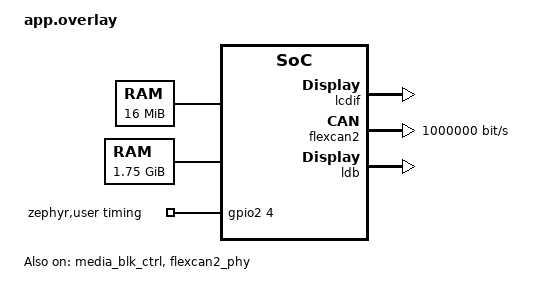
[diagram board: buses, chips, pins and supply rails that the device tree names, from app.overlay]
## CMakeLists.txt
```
# Copyright 2024, NXP
# SPDX-License-Identifier: Apache-2.0

cmake_minimum_required(VERSION 3.20.0)

find_package(Zephyr REQUIRED HINTS $ENV{ZEPHYR_BASE})
project(ebike_digital_cluster)

target_include_directories(app PRIVATE
    src
    src/generated
    src/custom
    src/generated/guider_customer_fonts
    src/generated/guider_fonts
    src/generated/images
)

FILE(GLOB gui_guider_src
    src/generated/*.c
    src/custom/*.c
    src/generated/guider_customer_fonts/*.c
    src/generated/guider_fonts/*.c
    src/generated/images/*.c
)

target_sources_ifdef(CONFIG_EDC_SHELL app PRIVATE
  src/view_shell.c
)

target_sources(app PRIVATE
  src/main.c
  src/model.c
  src/control.c
  ${gui_guider_src}
)

target_compile_definitions(app PRIVATE LV_LVGL_H_INCLUDE_SIMPLE)
```

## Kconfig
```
# Copyright 2024, NXP
# SPDX-License-Identifier: Apache-2.0

menu "Ebike digital cluster demo"

config EDC_CAN_FRAME_ID_BASE
	hex "CAN ID"
	default 0x100
	range 0x000 0x7fd
	help
	  CAN frame id base. 3 CAN frame ids are used in this demo.

config EDC_CAN_FD_MODE
	bool "Send CAN-FD format frames"
	select CAN_FD_MODE
    default n
	help
	  Selects CAN_FD_MODE

config EDC_SHELL
	bool "Enable edc shell debug command"
    default y if SHELL
	depends on SHELL
	help
	  Maximum number of CAN frames to enqueue for transmission.

config EDC_TIMING_GPIO
    bool "Filp GPIO to measure time"
    default n

module = EDC_MAIN
module-str = ebike digital cluster main thread
source "subsys/logging/Kconfig.template.log_config"

module = EDC_CONTROL
module-str = ebike digital cluster control
source "subsys/logging/Kconfig.template.log_config"

module = EDC_MODEL
module-str = ebike digital cluster model
source "subsys/logging/Kconfig.template.log_config"

endmenu

source "Kconfig.zephyr"
```

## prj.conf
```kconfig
# Copyright 2024, NXP
# SPDX-License-Identifier: Apache-2.0

## DEVICE ##
CONFIG_PINCTRL=y
CONFIG_PINCTRL_DYNAMIC=y
CONFIG_CLOCK_CONTROL=y
CONFIG_GPIO=y
CONFIG_SERIAL=y
CONFIG_UART_INTERRUPT_DRIVEN=y
CONFIG_I2C=y
CONFIG_I2C_CALLBACK=y
CONFIG_CAN=y
CONFIG_CAN_FD_MODE=n
CONFIG_CAN_RX_TIMESTAMP=y
CONFIG_DISPLAY=y
CONFIG_MCUX_IMX93_LDB=y
CONFIG_MCUX_LVDS_PANEL=y
CONFIG_GPIO_INIT_PRIORITY=10
CONFIG_I2C_INIT_PRIORITY=15
CONFIG_GPIO_ADP5585_GPIO_INIT_PRIORITY=20
CONFIG_GPIO_HOGS_INIT_PRIORITY=25
CONFIG_CAN_TRANSCEIVER_INIT_PRIORITY=40
CONFIG_CAN_INIT_PRIORITY=45
CONFIG_DISPLAY_INIT_PRIORITY=85

## KERNEL ##
CONFIG_XIP=y
CONFIG_USE_DT_CODE_PARTITION=y

CONFIG_SPEED_OPTIMIZATIONS=y
CONFIG_SCHED_SCALABLE=y
CONFIG_WAITQ_SCALABLE=y

CONFIG_PICOLIBC=y
# CONFIG_PICOLIBC_USE_MODULE is not set
CONFIG_COMMON_LIBC_MALLOC_ARENA_SIZE=67108864

CONFIG_MAIN_STACK_SIZE=16384
CONFIG_SYSTEM_WORKQUEUE_STACK_SIZE=16384
CONFIG_HEAP_MEM_POOL_SIZE=16777216

CONFIG_EVENTS=y
CONFIG_NOTIFY=y
CONFIG_PRINTK_SYNC=y
CONFIG_CBPRINTF_LIBC_SUBSTS=y

## SHELL ##
CONFIG_CONSOLE=y
CONFIG_UART_CONSOLE=y
CONFIG_LOG=n
CONFIG_LOG_MAX_LEVEL=3
CONFIG_LOG_DEFAULT_LEVEL=2
CONFIG_LOG_SPEED=y
CONFIG_SHELL=n
CONFIG_SHELL_PROMPT_UART="zephyr:~$ "
CONFIG_SHELL_BACKEND_SERIAL_LOG_MESSAGE_QUEUE_TIMEOUT=1000
CONFIG_SHELL_BACKEND_SERIAL_LOG_MESSAGE_QUEUE_SIZE=4096
CONFIG_SHELL_STACK_SIZE=16384

## LVGL ##
CONFIG_LV_Z_MEM_POOL_HEAP_LIB_C=y
CONFIG_LVGL=y
CONFIG_LV_Z_SHELL=y
CONFIG_LV_COLOR_DEPTH_32=y
CONFIG_LV_Z_DOUBLE_VDB=y
CONFIG_LV_Z_VDB_SIZE=100
CONFIG_LV_Z_FULL_REFRESH=y

## EDC ##
CONFIG_EDC_CAN_FRAME_ID_BASE=0x100
CONFIG_EDC_SHELL=y
CONFIG_EDC_TIMING_GPIO=y
CONFIG_EDC_MAIN_LOG_LEVEL_WRN=y
CONFIG_EDC_CONTROL_LOG_LEVEL_WRN=y
CONFIG_EDC_MODEL_LOG_LEVEL_WRN=y
```

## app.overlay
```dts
/*
 * Copyright 2023, NXP
 *
 * SPDX-License-Identifier: Apache-2.0
 */

/delete-node/ &sram0;

/{
    chosen{
        zephyr,console = &lpuart1;
        zephyr,shell-uart = &lpuart1;
        zephyr,code-partition = &sram0;
        zephyr,sram = &sram1;
        zephyr,canbus = &flexcan2;
        zephyr,display = &lcdif;
    };

    cpus {
		cpu@0 {
			status = "okay";
		};
	};

    sram0: memory@80200000 {
        reg = <0x80200000 DT_SIZE_M(16)>;
    };

    sram1: memory@81200000 {
        reg = <0x81200000 DT_SIZE_M(1792)>;
    };

    zephyr,user {
        timing_gpios = <&gpio2 4 GPIO_ACTIVE_HIGH>;
    };

};

&media_blk_ctrl{
	status = "okay";
};

&lcdif {
	pixel-format = "argb-8888";
	status = "okay";
};

&gpiohog_exp_sel {
    output-low;
};

&flexcan2_phy {
    status = "okay";
};

&flexcan2 {
	bus-speed = <1000000>;
    status = "okay";
};

&ldb {
    status = "okay";
};

&lvds_panel {
    status = "okay";
};
```

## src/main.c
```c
/*
 * Copyright 2023, NXP
 *
 * SPDX-License-Identifier: Apache-2.0
 */

#include <zephyr/kernel.h>
#include <zephyr/device.h>
#include <zephyr/drivers/gpio.h>
#include <zephyr/drivers/can.h>
#include <zephyr/drivers/display.h>
#include <zephyr/drivers/i2c.h>
#include <zephyr/sys/util.h>
#include <zephyr/sys/printk.h>
#include <zephyr/logging/log.h>
#include <zephyr/shell/shell.h>
#include <inttypes.h>
#include <stdio.h>
#include <string.h>
#include <lvgl.h>

#include "../generated/gui_guider.h"
#include "../generated/events_init.h"

#include "control.h"
#include "custom.h"

LOG_MODULE_REGISTER(main, CONFIG_EDC_MAIN_LOG_LEVEL);

#ifdef CONFIG_EDC_TIMING_GPIO
static struct gpio_dt_spec timing_gpio =
		GPIO_DT_SPEC_GET(DT_PATH(zephyr_user), timing_gpios);
#endif // CONFIG_EDC_TIMING_GPIO

k_tid_t tid_main;
lv_ui guider_ui;

edc_ctrl_t edc_ctrl;
edc_dataModel_t edc_model;

K_THREAD_STACK_DEFINE(edc_ctrl_thread_stack, EDC_CTRL_THREAD_STACK_SIZE);
struct k_thread edc_ctrl_thread;

void board_enable_backlight(void)
{
	const uint8_t cmd_data[] = {0x0d, 0xbf};
	const uint8_t io_exp_addr = 0x22;
	const struct device *i2c_dev = DEVICE_DT_GET(DT_N_S_soc_S_i2c_44350000);

	if(!device_is_ready(i2c_dev))
	{
		LOG_ERR("I2C: Device not ready.");
	}

	i2c_write(i2c_dev, cmd_data, 2, io_exp_addr);

}

int main(void)
{
	int ret;
	struct k_timer timer;
	tid_main = k_current_get();

	printk("**** ebike digital cluster demo ****\n"
	);

#ifdef CONFIG_EDC_TIMING_GPIO
	if (timing_gpio.port && !device_is_ready(timing_gpio.port)) {
		ret = -ENODEV;
		LOG_ERR("Error %d: timing_gpio device %s is not ready\n",
		       ret, timing_gpio.port->name);
		return ret;
	}

	ret = gpio_pin_configure_dt(&timing_gpio, GPIO_OUTPUT_ACTIVE);
	if (ret != 0) {
		LOG_ERR("Error %d: failed to configure timing_gpio at device %s pin %d\n",
		       ret, timing_gpio.port->name, timing_gpio.pin);
		return ret;
	} else {
		LOG_INF("Set up timing_gpio at device %s pin %d\n", timing_gpio.port->name, timing_gpio.pin);
	}
#endif // CONFIG_EDC_TIMING_GPIO

	const struct device *display_dev;

	display_dev = DEVICE_DT_GET(DT_CHOSEN(zephyr_display));
	if (!device_is_ready(display_dev)) {
		LOG_ERR("Device not ready, aborting test");
		return -ENODEV;
	}

	/** fill: 0x27, 0x1d, 0x16, 0xff */
	extern uint32_t _bg1_alpha_1280x800_map_filled[];
	for(int i = 0; i < (1280 * 800); ++i)
	{
		_bg1_alpha_1280x800_map_filled[i] = 0xff161d27U;
	}

	setup_ui(&guider_ui);
   	events_init(&guider_ui);
	custom_init(&guider_ui);

	lv_task_handler();
	//display_blanking_off(display_dev);
	board_enable_backlight();

	LOG_INF("lvgl display output started");
#ifdef CONFIG_EDC_TIMING_GPIO
	ret = gpio_pin_toggle_dt(&timing_gpio);
	if(ret)	{
		LOG_ERR("toggle timing_gpio err [%d]", ret);
		return ret;
	}
#endif // CONFIG_EDC_TIMING_GPIO

	/**
	 * create edc_ctrl thread as cooperative thread, then
	 * yield() to let it run first. It will set itself to
	 * a lower priority preemptive thread once initialized.
	 */
	k_thread_create(&edc_ctrl_thread, edc_ctrl_thread_stack,
        EDC_CTRL_THREAD_STACK_SIZE,
        (k_thread_entry_t)EDC_CtrlTask, (void*)&edc_ctrl, (void*)&edc_model, NULL,
        EDC_CTRL_THREAD_START_PRIO, 0, K_NO_WAIT
    );
	k_yield();

	LOG_INF("main thread resume");
	k_timer_init(&timer, NULL, NULL);
	k_timer_start(&timer, K_USEC(20000), K_USEC(20000));

	while (true)
	{
		/** wait for timer to trigger display */
		k_timer_status_sync(&timer);
		lv_task_handler();
	}

	return 0;
}
```

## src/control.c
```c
/*
* Copyright 2023-2024 NXP
*
* SPDX-License-Identifier: Apache-2.0
*/

#include "control.h"
#include "custom.h"

#include <zephyr/logging/log.h>
LOG_MODULE_REGISTER(edc_control, CONFIG_EDC_CONTROL_LOG_LEVEL);

#ifdef CONFIG_CAN_FD_MODE
#define CTRL_CAN_FILTER_FLAGS (CAN_FILTER_FDF | CAN_FILTER_DATA)
#else
#define CTRL_CAN_FILTER_FLAGS (CAN_FILTER_DATA)
#endif // CONFIG_CAN_FD_MODE

struct can_filter const edc_ctrl_canRxFilter[] =
{
    {
        .flags = CTRL_CAN_FILTER_FLAGS,
        .id = edc_ctrl_canMsg_timeSync,
        .mask = CAN_STD_ID_MASK,
    },
    {
        .flags = CTRL_CAN_FILTER_FLAGS,
        .id = edc_ctrl_canMsg_driveMode,
        .mask = CAN_STD_ID_MASK,
    },
    {
        .flags = CTRL_CAN_FILTER_FLAGS,
        .id = edc_ctrl_canMsg_currSpeed,
        .mask = CAN_STD_ID_MASK,
    },
};

void EDC_CtrlPubWorkHandler(struct k_work * work)
{
    edc_ctrl_t *ctrl = CONTAINER_OF(work, edc_ctrl_t, pub_work);
    EDC_DataModelPublish(ctrl->model);
}

void EDC_CtrlCanBusRxCb(struct device const *const dev, struct can_frame *frame, void *userData)
{
    static edc_data_t update_data;

    edc_ctrl_t * const ctrl = (edc_ctrl_t*)userData;
    LOG_DBG("can rx frame: id=0x%3.3x, dlc=%d",
           frame->id, frame->dlc);

    switch (frame->id)
    {
    case edc_ctrl_canMsg_timeSync:
        LOG_DBG("update timeSync %d", frame->data_32[0]);
        if(frame->dlc != 8U)
        {
            LOG_ERR("timeSync: frame format error, expect dlc = 8");
            break;
        }
        if(k_sem_take(&ctrl->model->ts.is_free, K_NO_WAIT) == 0)
        {
            k_sem_give(&ctrl->model->ts.is_free);
            LOG_ERR("timeSync: last timeSync timeout");
            break;
        }
        EDC_DataModelTimeSyncCalculate(ctrl->model, &frame->data_32[0]);
        break;
    case edc_ctrl_canMsg_driveMode:
        LOG_DBG("update driveMode %d", frame->data_32[0]);
        if(frame->dlc != 4U)
        {
            LOG_ERR("driveMode: frame format error, expect dlc = 4");
            break;
        }
        update_data.modeFlag = frame->data_32[0];
        EDC_DataModelUpdate(ctrl->model, &update_data, edc_dataFlag_modeFlag);
        k_wakeup(ctrl->thread_id);
        break;
    case edc_ctrl_canMsg_currSpeed:
        LOG_DBG("update currSpeed %d", frame->data_32[0]);
        if(frame->dlc != 4U)
        {
            LOG_ERR("currSpeed: frame format error, expect dlc = 4");
            break;
        }
        if (k_timer_remaining_get(&ctrl->ts_timer) == 0U)
        {
            /** timeSync not started until first currSpeed arrives */
            LOG_DBG("got first frame, enable timeSync");
            k_timer_start(&ctrl->ts_timer, K_MSEC(125), K_MSEC(125));
        }
        update_data.currentSpeed = frame->data_32[0];
        EDC_DataModelUpdate(ctrl->model, &update_data, edc_dataFlag_currentSpeed);
        k_wakeup(ctrl->thread_id);
        break;
    default:
        break;
    }
}

void EDC_CtrlCanBusTxCb(struct device const *const dev, int32_t error, void *userData)
{
    //edc_ctrl_t * const ctrl = (edc_ctrl_t*)userData;
    if (error != 0)
    {
        LOG_DBG("can tx error [%d]", error);
    }
    else
    {
        LOG_DBG("can tx frame");
    }
}

int32_t EDC_CtrlCanBusSend(edc_ctrl_t * const ctrl, struct can_frame * const frame)
{
    return can_send(ctrl->can_dev, frame, K_FOREVER, EDC_CtrlCanBusTxCb, ctrl);
}

int32_t EDC_CtrlCanBusConfig(edc_ctrl_t * const ctrl)
{
    int32_t ret;
    ctrl->can_dev = DEVICE_DT_GET(DT_CHOSEN(zephyr_canbus));
    if(!device_is_ready(ctrl->can_dev))
    {
        LOG_ERR("can device not ready [%d]\n", -ENODEV);
        return -ENODEV;
    }

    struct can_timing timing;
    ret = can_stop(ctrl->can_dev);
    ret = can_calc_timing(ctrl->can_dev, &timing, 1000000, 875);
    ret = can_set_timing(ctrl->can_dev, &timing);
#ifdef CONFIG_CAN_FD_MODE
    ret = can_calc_timing_data(ctrl->can_dev, &timing, 2000000, 875);
    ret = can_set_timing_data(ctrl->can_dev, &timing);
#endif // CONFIG_CAN_FD_MODE
    if (ret != 0)
    {
        LOG_ERR("set can timing fail [%d]\n", ret);
    }

    uint32_t const filter_count = sizeof(edc_ctrl_canRxFilter) / sizeof(struct can_filter);
    for(uint32_t i = 0U; i < filter_count; ++i)
    {
        ret = can_add_rx_filter(ctrl->can_dev, EDC_CtrlCanBusRxCb, ctrl, &edc_ctrl_canRxFilter[i]);
        if(ctrl->can_filterId < 0)
        {
            LOG_ERR("add can filter fail [%d]\n", ret);
            return ret;
        }
        ctrl->can_filterId[i] = ret;
    }

    return 0;
}

void EDC_CtrlTsWork(struct k_work *item)
{
    int ret;
    edc_ctrl_t *ctrl =
        CONTAINER_OF(item, edc_ctrl_t, ts_work);
    LOG_DBG("timesync work");

    static struct can_frame frame = {
#ifdef CONFIG_CAN_FD_MODE
	    .flags = CAN_FRAME_FDF | CAN_FRAME_BRS,
#else
	    .flags = 0U,
#endif // CONFIG_CAN_FD_MODE
        .id = edc_ctrl_canMsg_timeSync,
    };
    ret = EDC_DataModelTimeSyncPrepare(ctrl->model, &frame.data_32[0], &frame.dlc);
    if(ret)
    {
        k_timer_stop(&ctrl->ts_timer);
        EDC_DATAMODEL_UPDATE_MEMBER(ctrl->model, timeSync.ping, -1);
        EDC_DataModelPublish(ctrl->model);
        k_sem_give(&ctrl->model->ts.is_free);
        return;
    }
    ret = EDC_CtrlCanBusSend(ctrl, &frame);
    if(ret)
    {
        LOG_ERR("ts work can send fail [%d]", ret);
        return;
    }
}

void EDC_CtrlTsTimerWork(struct k_timer *item)
{
    edc_ctrl_t *ctrl =
        CONTAINER_OF(item, edc_ctrl_t, ts_timer);
    k_work_submit_to_queue(&ctrl->work_q, &ctrl->ts_work);
}

K_THREAD_STACK_DEFINE(edc_viewDisplay_thread_stack, EDC_VIEWDISPLAY_THREAD_STACK_SIZE);
struct k_thread edc_viewDisplay_thread;
void EDC_ViewDisplayTask(edc_ctrl_t * const ctrl, void*, void*); // defined in custom/custom.c

K_THREAD_STACK_DEFINE(edc_ctrl_wq_stack, EDC_CTRL_WQ_STACK_SIZE);

void EDC_CtrlTask(edc_ctrl_t *const ctrl, edc_dataModel_t *const model, void*)
{
    assert(ctrl);
    int ret;

    LOG_INF("edc ctrl task");
    ctrl->thread_id = k_current_get();
    k_thread_name_set(ctrl->thread_id, "edc_ctrl");

    EDC_DataModelInit(model);
    ctrl->model = model;
    k_work_init(&ctrl->pub_work, EDC_CtrlPubWorkHandler);

    k_work_queue_init(&ctrl->work_q);
    k_work_queue_start(&ctrl->work_q, edc_ctrl_wq_stack,
                   EDC_CTRL_WQ_STACK_SIZE, EDC_CTRL_THREAD_PRIO + 1,
                   NULL);

    k_work_init(&ctrl->ts_work, EDC_CtrlTsWork);
    k_timer_init(&ctrl->ts_timer, EDC_CtrlTsTimerWork, NULL);
    /** timeSync not started until first currSpeed arrives */

    LOG_INF("edc ctrl init ok");

    ret = EDC_CtrlCanBusConfig(ctrl);
    if(ret != 0)
    {
        return ret;
    }
    LOG_INF("edc ctrl can config ok");

	/**
	 * create edc_viewDisplay thread as cooperative thread, then
	 * yield() to let it run first. It will set itself to
	 * a lower priority preemptive thread once initialized.
	 */
	k_thread_create(&edc_viewDisplay_thread, edc_viewDisplay_thread_stack,
        EDC_VIEWDISPLAY_THREAD_STACK_SIZE,
        (k_thread_entry_t)EDC_ViewDisplayTask, (void*)ctrl, NULL, NULL,
        EDC_VIEWDISPLAY_THREAD_START_PRIO, 0, K_NO_WAIT
    );
	k_yield();

    LOG_INF("edc view start ok");

    ret = can_start(ctrl->can_dev);
    if (ret != 0)
    {
        LOG_DBG("can start fail [%d]\n", ret);
        return;
    }

    /** return to normal priority */
    k_thread_priority_set(k_current_get(), EDC_CTRL_THREAD_PRIO);

    while (true)
    {
        EDC_DataModelPublish(ctrl->model);
        k_thread_suspend(ctrl->thread_id);
    }

}
```

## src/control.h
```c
/*
* Copyright 2023-2024 NXP
*
* SPDX-License-Identifier: Apache-2.0
*/

#ifndef __EDC_CONTROL_H_
#define __EDC_CONTROL_H__

#include <stdint.h>
#include <stdlib.h>
#include <assert.h>
#include <string.h>

#include <zephyr/kernel.h>
#include <zephyr/kernel_structs.h>
#include <zephyr/spinlock.h>
#include <zephyr/sys/slist.h>
#include <zephyr/device.h>
#include <zephyr/devicetree.h>
#include <zephyr/drivers/can.h>
#include <zephyr/drivers/gpio.h>

#include "model.h"

#define EDC_CTRL_THREAD_START_PRIO (-1)
#define EDC_CTRL_THREAD_PRIO (5)
#define EDC_CTRL_THREAD_STACK_SIZE (0x4000U)
#define EDC_CTRL_WQ_STACK_SIZE (0x800U)

typedef enum _edc_ctrl_canMsg
{
    edc_ctrl_canMsg_timeSync = CONFIG_EDC_CAN_FRAME_ID_BASE + 0,
    edc_ctrl_canMsg_driveMode = CONFIG_EDC_CAN_FRAME_ID_BASE + 1,
    edc_ctrl_canMsg_currSpeed = CONFIG_EDC_CAN_FRAME_ID_BASE + 2,
} edc_ctrl_canMsg_t;

typedef struct _edc_ctrl
{
    k_tid_t thread_id;
    struct device const *can_dev;
    uint32_t can_filterId[8];
    edc_dataModel_t *model;
    struct k_work_q work_q;
    struct k_work ts_work; /** used for time sync */
    struct k_timer ts_timer;

    struct k_work pub_work; //TODO:clean-up work object if not used anymore
} edc_ctrl_t;

int32_t EDC_CtrlCanBusConfig(edc_ctrl_t * const ctrl);

void EDC_CtrlTask(edc_ctrl_t *const ctrl, edc_dataModel_t *const model, void*);

#endif //! __EDC_CONTROL_H__
```

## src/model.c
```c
/*
* Copyright 2023-2024 NXP
*
* SPDX-License-Identifier: Apache-2.0
*/

#include "model.h"

#include <zephyr/logging/log.h>
LOG_MODULE_REGISTER(edc_model, CONFIG_EDC_MODEL_LOG_LEVEL);

int32_t EDC_DataModelInit(edc_dataModel_t * const model)
{
    memset(model, 0U, sizeof(edc_dataModel_t));
    k_event_init(&model->event);
    sys_slist_init(&model->eventSubList);
    model->eventSubMask = 0U;
    k_mutex_init(&model->lock);
    k_sem_init(&model->ts.is_free, 1, 1);
    return 0U;
}

void EDC_DataModelUpdate(edc_dataModel_t * const model, edc_data_t const * const data, uint32_t flag)
{
    assert(model);
    assert(data);
    //assert(flag);
    k_mutex_lock(&model->lock, K_FOREVER);

    if (flag & edc_dataFlag_modeFlag)
    {
        EDC_DATAMODEL_UPDATE_MEMBER_FROM_DATA(model, data, modeFlag);
        if (model->shadow.modeData.driveMode == edc_driveMode_off
            && data->modeData.driveMode != edc_driveMode_off)
        {
            model->data.currentSpeed = model->shadow.currentSpeed = 0;
            model->data.averageSpeed = model->shadow.averageSpeed = 0;
            model->data.distance = model->shadow.distance = 0U;
            model->data.elapsedTime = model->shadow.elapsedTime = 0U;
        }
    }
    if (flag & edc_dataFlag_currentSpeed)
    {
        EDC_DATAMODEL_UPDATE_MEMBER_FROM_DATA(model, data, currentSpeed);

        if(model->shadow.modeData.driveMode != edc_driveMode_off)
        {
            uint64_t delta_elapsedTime /** ms */ = 50; // 50ms
            uint64_t new_elapsedTime /** ms */ = model->data.elapsedTime + delta_elapsedTime;
            EDC_DATAMODEL_UPDATE_MEMBER(model, elapsedTime, new_elapsedTime);

            uint64_t delta_distance /** mm */ = ((double)delta_elapsedTime) * ((double)model->data.currentSpeed) / 3600.0;
            uint32_t new_distance /** mm */ = model->data.distance + delta_distance;
            EDC_DATAMODEL_UPDATE_MEMBER(model, distance, new_distance);

            int32_t new_averageSpeed;
            if (new_elapsedTime != 0)
            {
                new_averageSpeed = ((double)new_distance * 3600) / ((double)new_elapsedTime);
            }
            else
            {
                new_averageSpeed = 0;
            }
            EDC_DATAMODEL_UPDATE_MEMBER(model, averageSpeed, new_averageSpeed);
        }
    }

    k_mutex_unlock(&model->lock);
}

int32_t EDC_DataModelSubscribe(edc_dataModelSub_t * const sub,
                                       edc_dataModel_t * const model)
{
    assert(model);
    assert(sub);
    if (sub->dataModel != NULL)
        return -EPERM;
    k_mutex_lock(&model->lock, K_FOREVER);

    bool event_bit_found = false;
    for (uint32_t i = 0U; i < 32U; ++i)
    {
        if (0U == ((model->eventSubMask >> i) & 1U))
        {
            model->eventSubMask |= (1U << i);
            sub->event_bit = i;
            event_bit_found = true;
            break;
        }
    }
    if (event_bit_found == false)
    {
        k_mutex_unlock(&model->lock);
        LOG_ERR("thread %s sub fail", k_thread_name_get(k_current_get()));
        return -EAGAIN;
    }

    sub->dataModel = model;
    sys_slist_append(&model->eventSubList, &sub->node);
    k_mutex_unlock(&model->lock);

    LOG_DBG("thread %s sub with event_bit %d", k_thread_name_get(k_current_get()), sub->event_bit);
    return 0U;
}

int32_t EDC_DataModelUnsubscribe(edc_dataModelSub_t * const sub)
{
    assert(sub);

    if (sub->dataModel == NULL)
        return -EINVAL;
    edc_dataModel_t * model = sub->dataModel;

    k_mutex_lock(&model->lock, K_FOREVER);
    //FIXME: what if a thread is waiting on this event?
    //optionally use high 16 bits for termination indicator
    bool remove = sys_slist_find_and_remove(&model->eventSubList, &sub->node);
    if(remove == false)
    {
        k_mutex_unlock(&model->lock);
        LOG_ERR("thread %s unsub failed", k_thread_name_get(k_current_get()));
        return -ENODATA;
    }

    model->eventSubMask &= ~(1U << sub->event_bit);
    sub->dataModel = NULL;
    k_mutex_unlock(&model->lock);
    LOG_DBG("thread %s unsub event_bit %d", k_thread_name_get(k_current_get()), sub->event_bit);
    return 0U;
}

int32_t EDC_DataModelEventWait(edc_dataModelSub_t * const sub, k_timeout_t timeout)
{
    LOG_DBG("thread %s wait event 0x%8.8x"
            , k_thread_name_get(k_current_get())
            , (uint32_t)(&sub->dataModel->event));
    int32_t ret = k_event_wait(&sub->dataModel->event, (1U << sub->event_bit), true, timeout);
    if(ret)
    {
        LOG_DBG("thread %s get event 0x%8.8x"
                , k_thread_name_get(k_current_get())
                , (uint32_t)(&sub->dataModel->event));
    }
    else
    {
        LOG_ERR("thread %s wait event 0x%8.8x timeout"
                , k_thread_name_get(k_current_get())
                , (uint32_t)(&sub->dataModel->event));
    }
    return ret;
}

void EDC_DataModelPublish(edc_dataModel_t * const model)
{
#if (KERNEL_VERSION_NUMBER >= 0x030400)
    // k_event_test is only available after zephyr 3.4.0.
    // FIXME these code are not tested!
    uint32_t pending_task = k_event_test(&model->event, model->eventSubMask);
    if(0U != pending_task)
    {
        LOG_DBG("W dm event is not fully cleared, 0x%x\n", pending_task);
    }
#endif // ! KERNEL_VERSION_NUMBER

    LOG_DBG("event 0x%8.8x publish 0x%8.8x from thread %s",
           (uint32_t)(&model->event), model->eventSubMask,
           k_thread_name_get(k_current_get()));

    //k_mutex_lock(&model->lock, K_FOREVER);
    k_event_post(&model->event, model->eventSubMask);
    //k_mutex_unlock(&model->lock);
}

int EDC_DataModelTimeSyncPrepare(edc_dataModel_t * const model, uint32_t* can_frame_data, uint8_t *dlc)
{
    int ret = k_sem_take(&model->ts.is_free, K_NO_WAIT);
    if(ret)
    {
        LOG_ERR("another time sync task already in progress! [%d]", ret);
        return ret;
    }
    model->ts.t0 = k_cyc_to_us_near32(k_cycle_get_64());
    can_frame_data[0] = model->ts.t0;
    *dlc = 4U;
    return 0;
}

void EDC_DataModelTimeSyncCalculate(edc_dataModel_t * const model, uint32_t* can_frame_data)
{
    model->ts.t3 = k_cyc_to_us_near32(k_cycle_get_64());
    model->ts.t1 = can_frame_data[0];
    model->ts.t2 = can_frame_data[1];

    int64_t t0 = model->ts.t0;
    int64_t t1 = model->ts.t1;
    int64_t t2 = model->ts.t2;
    int64_t t3 = model->ts.t3;

    uint32_t new_ping = (t3 - t0) - (t2 - t1); /** in us */
    EDC_DATAMODEL_UPDATE_MEMBER(model, timeSync.ping, new_ping);

    int32_t new_offset = ((t1 - t0) + (t2 - t3)) / 2; /** in us */
    EDC_DATAMODEL_UPDATE_MEMBER(model, timeSync.offset, new_offset);

    LOG_DBG("timeSync ping = %d us, offset = %d us", new_ping, new_offset);

    k_sem_give(&model->ts.is_free);
}
```

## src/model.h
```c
/*
* Copyright 2023-2024 NXP
*
* SPDX-License-Identifier: Apache-2.0
*/

#ifndef __EDC_MODEL_H__
#define __EDC_MODEL_H__
#include <stdint.h>
#include <stdlib.h>
#include <assert.h>
#include <string.h>

#include <zephyr/kernel.h>
#include <zephyr/kernel_structs.h>
#include <zephyr/spinlock.h>
#include <zephyr/sys/slist.h>

typedef enum _edc_driveMode
{
    edc_driveMode_off = 0U,
    edc_driveMode_lock, // child lock / protection
    //edc_driveMode_eco,
    edc_driveMode_normal,
    //edc_driveMode_rain,
    edc_driveMode_sport,
} edc_driveMode_t;

typedef enum _edc_lightMode
{
    /** main light */
    edc_lightMode_main_off =    0b00U,
    edc_lightMode_main_day =    0b01U,
    edc_lightMode_main_on =     0b10U,
    edc_lightMode_main_max =    0b11U,
    /** turn light */
    edc_lightMode_turn_na =     0b00U,
    edc_lightMode_turn_lt =     0b10U,
    edc_lightMode_turn_rt =     0b01U,
    /** rear light */
    edc_lightMode_rear_off =    0b00U,
    edc_lightMode_rear_dimm =   0b01U,
    edc_lightMode_rear_bright = 0b10U,
} edc_lightMode_t;

typedef enum _edc_dataFlag
{
    edc_dataFlag_modeFlag = (1U <<  1),
    edc_dataFlag_currentSpeed = (1U << 2),
} edc_dataFlag_t;

//__attribute__((__packed))
struct _edc_data
{
    union
    {
        uint32_t modeFlag;
        struct
        {
            edc_driveMode_t driveMode : 3;
            edc_lightMode_t mainLight : 2;
            edc_lightMode_t turnLight : 2;
            edc_lightMode_t rearLight : 2;
        } modeData;
    };

    int32_t currentSpeed, averageSpeed /** speed in m/h */;
    uint64_t distance /** distance in mm */, elapsedTime /** time in ms */;

    struct
    {
        int32_t ping;
        int32_t offset;
    } timeSync;
};

typedef struct _edc_data edc_data_t;
typedef struct _edc_ts
{
    struct k_sem is_free;
    uint32_t t0, t1, t2, t3;
}edc_timeSync_t;

typedef struct _edc_dataModel
{
    /** service section */
    struct k_event event;
    sys_slist_t eventSubList;
    uint32_t eventSubMask;

    struct k_mutex lock;

    /** storage section */
    edc_timeSync_t ts;
    edc_data_t data, shadow;

} edc_dataModel_t;


/** edc_dataModel_t helper macro */
#define EDC_DATAMODEL_UPDATE_MEMBER(model, member, member_data) \
    { \
        model->shadow.member = model->data.member; \
        model->data.member = member_data; \
    }

#define EDC_DATAMODEL_UPDATE_MEMBER_FROM_DATA(model, new_data, member) \
    { \
        model->shadow.member = model->data.member; \
        model->data.member = new_data->member; \
    }

#define EDC_DATAMODEL_IS_MEMBER_EQUAL(model, member) \
    (model->shadow.member == model->data.member)


typedef struct _edc_dataModelSub
{
    sys_snode_t node;           /**! slist node */
    uint32_t event_bit;         /**! dataModel event bit shift */
    edc_dataModel_t* dataModel; /**! dataModel subscribed to */
} edc_dataModelSub_t;

/**
 * @brief Init dataModel for Ebike digital cluster
 *
 * @param model     Pointer to the dataModel structure to be initialized.
 * @retval 0 If successful
 */
int32_t EDC_DataModelInit(edc_dataModel_t * const model);

/**
 * @brief Update data fields inside dataModel according to flags.
 *
 * @param model     Pointer to the dataModel structure to be updated
 * @param data      Pointer to structure containing new data.
 * @param flag      Bitfield indicating which data to be update.
 */
void EDC_DataModelUpdate(edc_dataModel_t * const model, edc_data_t const * const data, uint32_t flag);

int32_t EDC_DataModelSubscribe(edc_dataModelSub_t * const sub,
                                edc_dataModel_t * const model);

int32_t EDC_DataModelUnsubscribe(edc_dataModelSub_t * const sub);

int32_t EDC_DataModelEventWait(edc_dataModelSub_t * const sub, k_timeout_t timeout);

void EDC_DataModelPublish(edc_dataModel_t * const model);

int EDC_DataModelTimeSyncPrepare(edc_dataModel_t * const model, uint32_t* can_frame_data, uint8_t *dlc);

void EDC_DataModelTimeSyncCalculate(edc_dataModel_t * const model, uint32_t* can_frame_data);

#endif //! __EDC_MODEL_H__
```

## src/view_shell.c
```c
/*
* Copyright 2023-2024 NXP
*
* SPDX-License-Identifier: Apache-2.0
*/

#include <stdlib.h>
#include <stdio.h>
#include <string.h>
#include <stdarg.h>

#include <zephyr/shell/shell.h>
#include <zephyr/drivers/can.h>

#include "control.h"

#include <zephyr/logging/log.h>
LOG_MODULE_REGISTER(view_shell, 4U);

extern edc_ctrl_t edc_ctrl;
extern edc_dataModel_t edc_model;
edc_dataModel_t *model = &edc_model;

char const * const cmd_stringLut_driveMode[] =
{
    "Power OFF",
    "Safety lock",
    "ECO Mode",
    "Normal Mode",
    "Sport Mode",
    "Rain Mode",
};

char const * const cmd_stringLut_mainLight[] =
{
    "OFF",
    "D--",
    "XX-",
    "X<<",
};

char const * const cmd_stringLut_turnLight[] =
{
    "OFF",
    "D--",
    "XX-",
    "X<<",
};

char const * const cmd_stringLut_rearLight[] =
{
    "OFF",
    "DIM",
    "BRT",
};

//void EDC_ViewShellCreateArgList(va_list *arg, ...)
//{
//    va_list myArg;
//    //va_start(myArg, arg);
//    //va_copy(*arg, myArg);
//    //va_end(myArg);
//}
//
//void EDC_ViewShellPrintStatus(char const *fmt, va_list *arg)
//{
//    fmt = "Ebike digital cluster status\n"
//          "thread id: 0x%lx\n"
//          "event subscription: 0x%lx";
//    EDC_ViewShellCreateArgList(arg, model->thread_id, model->eventSubMask);
//}

static int cmd_edc_status(const struct shell *sh, size_t argc, char **argv)
{
	shell_print(sh, "Ebike digital cluster status");
    shell_print(sh, "event subscription: 0x%x", model->eventSubMask);

	return 0;
}

static int cmd_edc_show(const struct shell *sh, size_t argc, char **argv)
{
	shell_print(sh, "Ebike digital cluster data");
    shell_print(sh, "Drive mode: %s", cmd_stringLut_driveMode[model->data.modeData.driveMode]);
    shell_print(sh, "Light: Main %s, Rear %s, Turn %s",
            cmd_stringLut_mainLight[model->data.modeData.mainLight],
            cmd_stringLut_rearLight[model->data.modeData.turnLight],
            cmd_stringLut_turnLight[model->data.modeData.rearLight]);
    shell_print(sh, "Speed: %d.%d km/h", model->data.currentSpeed / 1000, model->data.currentSpeed % 1000);
    shell_print(sh, "Average speed: %d.%d km/h", model->data.averageSpeed / 1000, model->data.averageSpeed % 1000);
	shell_print(sh, "Distance: %d.%d km", (model->data.distance / 1000) / 1000, (model->data.distance / 1000) % 1000);

	shell_print(sh, "Time sync: ping: %3.3d us, diff: %-10.10d", model->data.timeSync.ping, model->data.timeSync.offset);
    return 0;
}


void EDC_CtrlCanBusRxCb(struct device const *const dev, struct can_frame *frame, void *userData);

static int cmd_edc_can_sim(const struct shell *sh, size_t argc, char **argv)
{

    struct can_frame frame;
    uint32_t max_id = CAN_MAX_STD_ID;
	int argidx = 1;
	uint32_t val;
	char *endptr;
	int nbytes;

    /* Defaults */
    frame.flags = 0U;
	frame.dlc = 0;

    /* Parse CAN ID */
	if (argidx >= argc) {
		shell_error(sh, "missing CAN ID parameter");
		shell_help(sh);
		return SHELL_CMD_HELP_PRINTED;
	}

	val = (uint32_t)strtoul(argv[argidx++], &endptr, 16);
	if (*endptr != '\0') {
		shell_error(sh, "failed to parse CAN ID");
		return -EINVAL;
	}

	if (val > max_id) {
		shell_error(sh, "CAN ID 0x%0*x out of range",
			    (frame.flags & CAN_FRAME_IDE) != 0 ? 8 : 3,
			    val);
		return -EINVAL;
	}

	frame.id = val;

    nbytes = argc - argidx;
	if (nbytes > ARRAY_SIZE(frame.data)) {
		shell_error(sh, "excessive amount of data (%d bytes)", nbytes);
		return -EINVAL;
	}

	frame.dlc = can_bytes_to_dlc(nbytes);

    /* Parse data */
	for (uint32_t i = 0; i < nbytes; i++) {
		val = (uint32_t)strtoul(argv[argidx++], &endptr, 16);
		if (*endptr != '\0') {
			shell_error(sh, "failed to parse data %s", argv[argidx++]);
			return -EINVAL;
		}

		if (val > 0xff) {
			shell_error(sh, "data 0x%x out of range", val);
			return -EINVAL;
		}

		frame.data[i] = val;
	}

    EDC_CtrlCanBusRxCb(NULL, &frame, &edc_ctrl);

    return 0;
}

SHELL_STATIC_SUBCMD_SET_CREATE(edc_shell_cmds,
	SHELL_CMD_ARG(status, NULL,
		"Get Ebike digital cluster status\n"
		"Usage: edc status",
		cmd_edc_status, 1, 0),
	SHELL_CMD_ARG(show, NULL,
		"Show Ebike digital cluster data model\n"
		"Usage: edc show",
		cmd_edc_show, 1, 0),
    SHELL_CMD_ARG(can_sim, NULL,
		"Simulate data received via CAN interface\n"
        "Usage: edc can_sim <CAN ID> [data] [...]",
		cmd_edc_can_sim, 2, SHELL_OPT_ARG_CHECK_SKIP),
	SHELL_SUBCMD_SET_END
);
SHELL_CMD_REGISTER(edc, &edc_shell_cmds, "Ebike digital culster commands", NULL);

//void EDC_ViewShellTask(edc_ctrl_t * const ctrl, void*, void*)
//{
//    int32_t ret;
//    edc_dataModelSub_t dm_sub;
//    dm_sub.dataModel = NULL;
//
//    k_thread_suspend(k_current_get());
//
//    LOG_INF("subscribe model\n");
//    ret = EDC_DataModelSubscribe(&dm_sub, ctrl->model);
//    if (ret != 0U)
//    {
//        LOG_INF("subscribe fail %d\n", ret);
//        return;
//    }
//    LOG_INF("subscribe ok\n");
//
//    while (true)
//    {
//        EDC_DataModelEventWait(&dm_sub, K_FOREVER);
//        LOG_DBG("edc data:\n");
//        LOG_DBG("Drive mode: %s\n", cmd_stringLut_driveMode[dm_sub.dataModel->data.modeData.driveMode]);
//        LOG_DBG("Light: Main %s, Rear %s, Turn %s\n",
//                cmd_stringLut_mainLight[dm_sub.dataModel->data.modeData.mainLight],
//                cmd_stringLut_rearLight[dm_sub.dataModel->data.modeData.turnLight],
//                cmd_stringLut_turnLight[dm_sub.dataModel->data.modeData.rearLight]);
//        LOG_DBG("Speed: %d.%d km/h\n", dm_sub.dataModel->data.currentSpeed / 1000, dm_sub.dataModel->data.currentSpeed % 1000);
//        LOG_DBG("Average speed: %d.%d km/h\n", model->data.averageSpeed / 1000, model->data.averageSpeed % 1000);
//	    LOG_DBG("Distance: %d.%d km\n", dm_sub.dataModel->data.distance / 1000, dm_sub.dataModel->data.distance % 1000);
//    }
//}
//
//#define EDC_VIEWSHELL_THREAD_PRIO (8U)
//#define EDC_VIEWSHELL_THREAD_STACK_SIZE (0x1000U)
//K_THREAD_DEFINE(edc_viewShell_task, EDC_VIEWSHELL_THREAD_STACK_SIZE,
//                EDC_ViewShellTask, &edc_ctrl, NULL, NULL,
//                EDC_VIEWSHELL_THREAD_PRIO, 0, 0);
```
